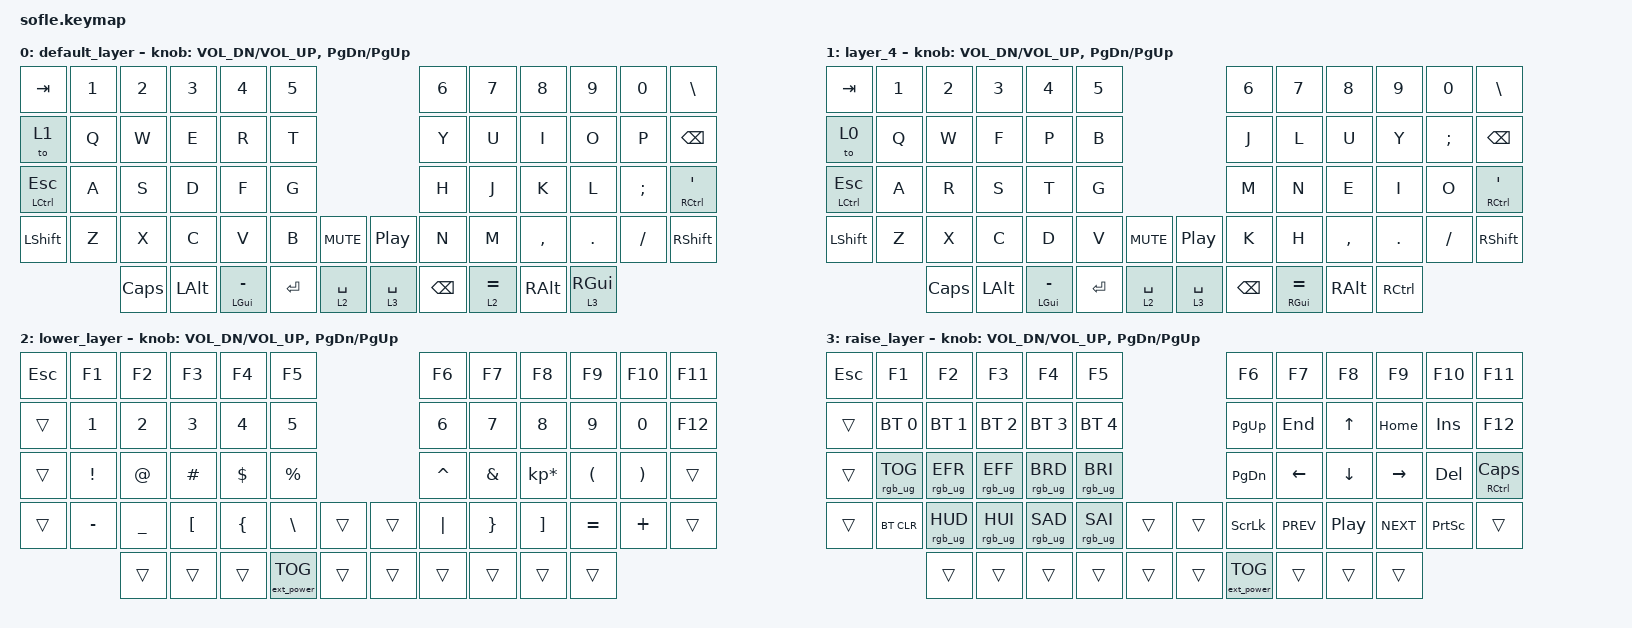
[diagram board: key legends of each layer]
/*
 * Copyright (c) 2020 The ZMK Contributors
 *
 * SPDX-License-Identifier: MIT
 */

#include <behaviors.dtsi>
#include <dt-bindings/zmk/bt.h>
#include <dt-bindings/zmk/ext_power.h>
#include <dt-bindings/zmk/keys.h>
#include <dt-bindings/zmk/rgb.h>

/ {
    keymap {
        compatible = "zmk,keymap";

        default_layer {
            // ------------------------------------------------------------------------------------------------------------
            // |  `    |  1  |  2  |  3   |  4   |  5   |                   |  6   |  7    |  8    |  9   |   0   |   \   |
            // |  TAB  |  Q  |  W  |  E   |  R   |  T   |                   |  Y   |  U    |  I    |  O   |   P   | BKSPC |
            // | C/ESC |  A  |  S  |  D   |  F   |  G   |                   |  H   |  J    |  K    |  L   |   ;   |  C/'  |
            // | SHIFT |  Z  |  X  |  C   |  V   |  B   |  MUTE  |  | PLAY  |  N   |  M    |  ,    |  .   |   /   | SHIFT |
            //               | CAPS| ALT  | GUI/-| SPACE|LOWER/[ |  |RAISE/]| ENTER|  GUI/=|  ALT  | CTRL |

            bindings = <
&kp TAB        &kp N1  &kp N2    &kp N3    &kp N4          &kp N5                                 &kp N6         &kp N7       &kp N8     &kp N9           &kp N0    &kp BSLH
&to 1          &kp Q   &kp W     &kp E     &kp R           &kp T                                  &kp Y          &kp U        &kp I      &kp O            &kp P     &kp BSPC
&mt LCTRL ESC  &kp A   &kp S     &kp D     &kp F           &kp G                                  &kp H          &kp J        &kp K      &kp L            &kp SEMI  &mt RCTRL SQT
&kp LSHFT      &kp Z   &kp X     &kp C     &kp V           &kp B      &kp C_MUTE     &kp C_PP     &kp N          &kp M        &kp COMMA  &kp DOT          &kp FSLH  &kp RSHFT
                       &kp CLCK  &kp LALT  &mt LGUI MINUS  &kp ENTER  &lt 2 SPACE    &lt 3 SPACE  &kp BACKSPACE  &lt 2 EQUAL  &kp RALT   &lt 3 RIGHT_GUI
            >;

            sensor-bindings = <&inc_dec_kp C_VOL_DN C_VOL_UP &inc_dec_kp PG_DN PG_UP>;
        };

        layer_4 {
            bindings = <
&kp TAB        &kp N1  &kp N2    &kp N3    &kp N4          &kp N5                                 &kp N6         &kp N7          &kp N8     &kp N9     &kp N0         &kp BSLH
&to 0          &kp Q   &kp W     &kp F     &kp P           &kp B                                  &kp J          &kp L           &kp U      &kp Y      &kp SEMICOLON  &kp BSPC
&mt LCTRL ESC  &kp A   &kp R     &kp S     &kp T           &kp G                                  &kp M          &kp N           &kp E      &kp I      &kp O          &mt RCTRL SQT
&kp LSHFT      &kp Z   &kp X     &kp C     &kp D           &kp V      &kp C_MUTE     &kp C_PP     &kp K          &kp H           &kp COMMA  &kp DOT    &kp FSLH       &kp RSHFT
                       &kp CLCK  &kp LALT  &mt LGUI MINUS  &kp ENTER  &lt 2 SPACE    &lt 3 SPACE  &kp BACKSPACE  &mt RGUI EQUAL  &kp RALT   &kp RCTRL
            >;

            sensor-bindings =
                <&inc_dec_kp C_VOL_DN C_VOL_UP>,
                <&inc_dec_kp PG_DN PG_UP>;
        };

        lower_layer {
            // ------------------------------------------------------------------------------------------------------------
            // |       |  F1 |  F2 |  F3  |  F4  |  F5  |                   |  F6  |  F7   |  F8   |  F9  |  F10  |  F11  |
            // |       |   1 |   2 |   3  |   4  |   5  |                   |   6  |   7   |   8   |   9  |    0  |  F12  |
            // |       |  !  |  @  |  #   |  $   |  %   |                   |  ^   |  &    |  *    |  (   |   )   |       |
            // |       |  -  |  _  |  [   |  {   |  \   |        |  |       |  |   |  }    |  ]    |  =   |   +   |       |
            //               |     |      |      |      |        |  |       |      |       |       |      |

            bindings = <
&kp ESCAPE  &kp F1     &kp F2     &kp F3    &kp F4    &kp F5                               &kp F6     &kp F7    &kp F8           &kp F9     &kp F10   &kp F11
&trans      &kp N1     &kp N2     &kp N3    &kp N4    &kp N5                               &kp N6     &kp N7    &kp N8           &kp N9     &kp N0    &kp F12
&trans      &kp EXCL   &kp AT     &kp HASH  &kp DLLR  &kp PRCNT                            &kp CARET  &kp AMPS  &kp KP_MULTIPLY  &kp LPAR   &kp RPAR  &trans
&trans      &kp MINUS  &kp UNDER  &kp LBKT  &kp LBRC  &kp BSLH           &trans    &trans  &kp PIPE   &kp RBRC  &kp RBKT         &kp EQUAL  &kp PLUS  &trans
                       &trans     &trans    &trans    &ext_power EP_TOG  &trans    &trans  &trans     &trans    &trans           &trans
            >;

            sensor-bindings = <&inc_dec_kp C_VOL_DN C_VOL_UP &inc_dec_kp PG_DN PG_UP>;
        };

        raise_layer {
            // ------------------------------------------------------------------------------------------------------------
            // |     |  F1  |  F2  |  F3   |  F4   |  F5  |                |  F6  |  F7  |  F8   |  F9  |  F10  |  F11  |
            // |     | BT1  | BT2  |  BT3  |  BT4  |  BT5 |                | PGUP |  END |   ^   | HOME |  INS  |  F12  |
            // |     | RGBT | RGB- | RGB+  |  BR-  |  BR+ |                | PGDN |   <- |   v   | ->   |  DEL  | C/CAPS|
            // |     |BTCLR | HUD  | HUI   |  SAD  |  SAI |      |  |      | SCRL | PRVS | PLAY  | NEXT |  PSCR |       |
            //              |      |       |       |      |      |  |      |      |      |       |      |

            bindings = <
&kp ESCAPE  &kp F1           &kp F2           &kp F3           &kp F4           &kp F5                             &kp F6             &kp F7      &kp F8    &kp F9      &kp F10    &kp F11
&trans      &bt BT_SEL 0     &bt BT_SEL 1     &bt BT_SEL 2     &bt BT_SEL 3     &bt BT_SEL 4                       &kp PG_UP          &kp END     &kp UP    &kp HOME    &kp INS    &kp F12
&trans      &rgb_ug RGB_TOG  &rgb_ug RGB_EFR  &rgb_ug RGB_EFF  &rgb_ug RGB_BRD  &rgb_ug RGB_BRI                    &kp PG_DN          &kp LEFT    &kp DOWN  &kp RIGHT   &kp DEL    &mt RCTRL CLCK
&trans      &bt BT_CLR       &rgb_ug RGB_HUD  &rgb_ug RGB_HUI  &rgb_ug RGB_SAD  &rgb_ug RGB_SAI  &trans    &trans  &kp SLCK           &kp C_PREV  &kp C_PP  &kp C_NEXT  &kp PSCRN  &trans
                             &trans           &trans           &trans           &trans           &trans    &trans  &ext_power EP_TOG  &trans      &trans    &trans
            >;

            sensor-bindings = <&inc_dec_kp C_VOL_DN C_VOL_UP &inc_dec_kp PG_DN PG_UP>;
        };
    };
};
